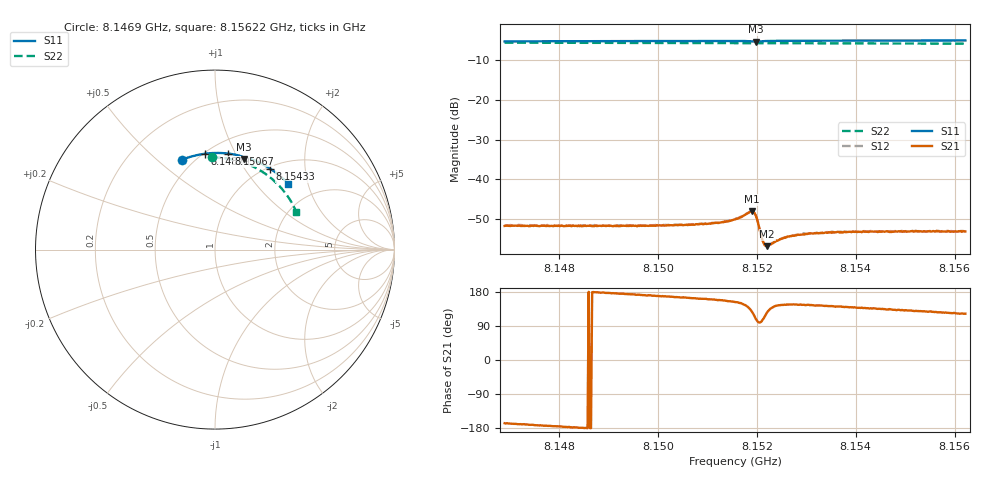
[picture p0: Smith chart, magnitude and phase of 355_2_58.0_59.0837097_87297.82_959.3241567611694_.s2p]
#  HZ  S  RI  R  50.00
! Rohde & Schwarz Vector Network Analyzer
! Rohde-Schwarz,ZNB20-2Port,1311601062101988,3.16
! Created: UTC 3/21/2024, 1:06:11 AM
! freq[Hz]  re:S11  im:S11  re:S21  im:S21  re:S12  im:S12  re:S22  im:S22
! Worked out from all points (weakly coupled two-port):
!   401 points, 8.1469 GHz to 8.15622 GHz, reference 50 ohm
!   highest |S21| = -47.98 dB at 8.15191 GHz (marker M1); lowest = -56.7 dB at 8.15221 GHz (marker M2)
!   lowest |S11| = -5.5 dB at 8.15198 GHz (marker M3), VSWR 3.26, Z = 37.3 + j52.5 ohm
!   |S11| at or under -10 dB: nowhere
!   |S22| runs from -6.0 to -5.8 dB; largest |S21 - S12| = 0.00012
!   S11 on the Smith chart (normalised r, x): 8.1469 GHz: 0.43, +0.61; 8.14879 GHz: 0.51, +0.76; 8.15067 GHz: 0.62, +0.94; 8.15433 GHz: 1.03, +1.32; 8.15622 GHz: 1.44, +1.51
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8.1469e9  -0.1838 0.5009  -0.00255 -0.0006  -0.00261 -0.000567  -0.0168 0.5133
8.148461e9  -0.0792 0.5305  -0.0026 -4.15e-05  -0.00265 4.15e-05  0.0845 0.5047
8.148787e9  -0.0567 0.534  -0.00262 6.24e-05  -0.00265 0.000143  0.1054 0.5004
8.150021e9  0.0291 0.5383  -0.00261 0.000526  -0.0026 0.000589  0.1813 0.4762
8.150674e9  0.0746 0.5349  -0.00262 0.000777  -0.00261 0.000798  0.2193 0.459
8.151256e9  0.1151 0.5283  -0.00268 0.00109  -0.00269 0.00114  0.2521 0.4409
8.151559e9  0.1369 0.5231  -0.00283 0.00145  -0.00282 0.0015  0.2685 0.4305
8.151862e9  0.1583 0.512  -0.00275 0.0028  -0.00276 0.00286  0.2843 0.4194
8.151908e9  0.1598 0.5087  -0.00235 0.00322  -0.00234 0.00324  0.2866 0.4177
8.151955e9  0.1598 0.5062  -0.00163 0.00344  -0.00159 0.00351  0.2888 0.416
8.151978e9  0.1593 0.5057  -0.00113 0.00337  -0.00115 0.00343  0.29 0.4152
8.152025e9  0.1587 0.5067  -0.00051 0.00282  -0.000475 0.00286  0.2921 0.4133
8.152118e9  0.1635 0.5105  -0.000483 0.00165  -0.00049 0.00164  0.2968 0.4101
8.152165e9  0.1673 0.5113  -0.000652 0.00134  -0.000667 0.00135  0.2993 0.4084
8.152211e9  0.1711 0.5114  -0.000871 0.00118  -0.000872 0.00121  0.3017 0.4066
8.152468e9  0.1906 0.5073  -0.00145 0.00103  -0.00147 0.00101  0.3145 0.3963
8.152607e9  0.2003 0.5042  -0.0016 0.00106  -0.00156 0.00109  0.3214 0.3907
8.15291e9  0.2206 0.4964  -0.00169 0.00116  -0.00169 0.00121  0.3354 0.3778
8.15312e9  0.2341 0.4907  -0.00172 0.00122  -0.00172 0.00125  0.345 0.3688
8.154331e9  0.3077 0.4504  -0.0016 0.00155  -0.00161 0.00159  0.3949 0.3112
8.154681e9  0.3278 0.4367  -0.00154 0.00157  -0.00154 0.00163  0.4076 0.2934
8.156218e9  0.4068 0.3669  -0.0012 0.00189  -0.00117 0.00191  0.4534 0.2096
